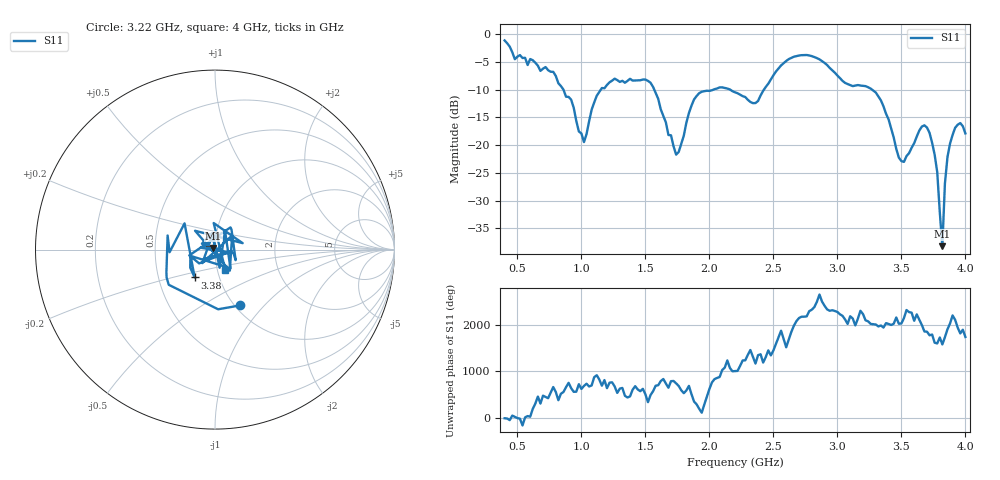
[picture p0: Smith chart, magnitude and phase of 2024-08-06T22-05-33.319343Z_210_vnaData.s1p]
!Created with skrf (http://scikit-rf.org).
# Hz S RI R 50.0
!freq ReS11 ImS11
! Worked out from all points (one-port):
!   181 points, 400 MHz to 4 GHz, reference 50 ohm
!   lowest |S11| = -38.2 dB at 3.82 GHz (marker M1), VSWR 1.02, Z = 49.1 + j0.838 ohm
!   |S11| at or under -10 dB: 860.1 MHz to 1.151 GHz (291 MHz wide, 28.9 % of centre); 1.569 GHz to 2.03 GHz (460.5 MHz wide, 25.6 % of centre); 3.272 GHz to end of sweep (the widest 3 of 4)
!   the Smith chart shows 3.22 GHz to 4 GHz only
!   S11 on the Smith chart (normalised r, x): 3.22 GHz: 1.05, -0.74; 3.38 GHz: 0.76, -0.25; 4 GHz: 1.09, -0.25
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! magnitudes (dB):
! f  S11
! 400 MHz  -1.1
! 480 MHz  -4.5
! 780 MHz  -6.8
! 860 MHz  -10.0
! 920 MHz  -11.8
! 1.02 GHz  -19.4
! 1.12 GHz  -11.1
! 1.3 GHz  -8.6
! 1.54 GHz  -8.7
! 1.76 GHz  -21.2
! 1.92 GHz  -10.6
! 2.2 GHz  -10.5
! 2.36 GHz  -12.4
! 2.66 GHz  -4.1
! 2.86 GHz  -4.5
! 3.1 GHz  -9.2
! 3.22 GHz  -9.4
! 3.38 GHz  -14.3
! 3.48 GHz  -22.2
! 3.56 GHz  -21.4
! 3.66 GHz  -16.6
! 3.72 GHz  -17.8
! 3.78 GHz  -24.9
! 3.82 GHz  -38.2
! 3.84 GHz  -26.9
! 3.88 GHz  -19.7
! 3.94 GHz  -16.3
! 4 GHz  -17.9
